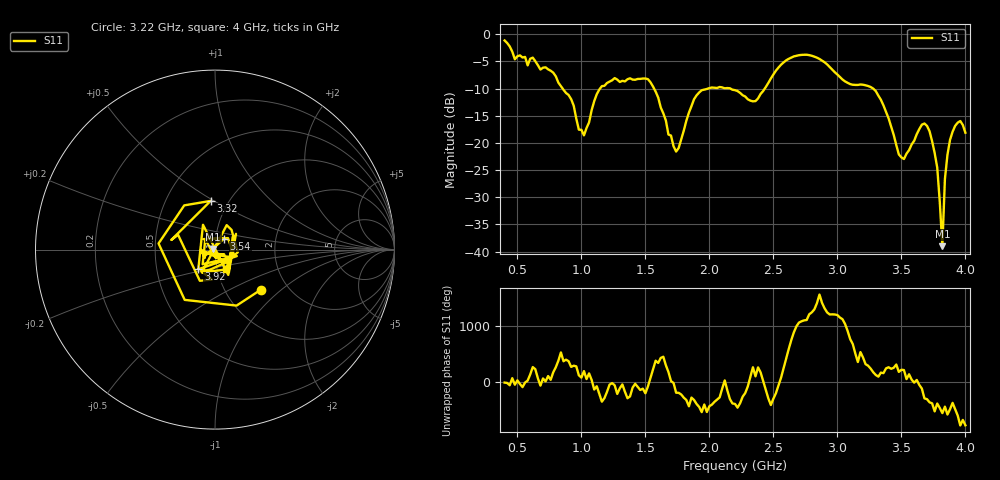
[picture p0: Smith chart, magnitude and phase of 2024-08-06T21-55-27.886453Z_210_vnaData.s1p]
!Created with skrf (http://scikit-rf.org).
# Hz S RI R 50.0
!freq ReS11 ImS11
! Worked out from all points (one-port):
!   181 points, 400 MHz to 4 GHz, reference 50 ohm
!   lowest |S11| = -39.0 dB at 3.82 GHz (marker M1), VSWR 1.02, Z = 49 + j0.386 ohm
!   |S11| at or under -10 dB: 853.5 MHz to 1.145 GHz (291.7 MHz wide, 29.2 % of centre); 1.568 GHz to 1.988 GHz (419.7 MHz wide, 23.6 % of centre); 3.28 GHz to end of sweep (the widest 3 of 4)
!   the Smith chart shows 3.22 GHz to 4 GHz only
!   S11 on the Smith chart (normalised r, x): 3.22 GHz: 1.47, -0.74; 3.32 GHz: 0.82, +0.48; 3.54 GHz: 1.10, +0.14; 3.92 GHz: 0.81, -0.18; 4 GHz: 1.11, -0.24
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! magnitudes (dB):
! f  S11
! 400 MHz  -1.1
! 480 MHz  -4.6
! 620 MHz  -4.3
! 860 MHz  -10.2
! 1.02 GHz  -18.6
! 1.14 GHz  -10.2
! 1.3 GHz  -8.8
! 1.52 GHz  -8.3
! 1.76 GHz  -20.9
! 1.92 GHz  -10.7
! 2.2 GHz  -10.3
! 2.36 GHz  -12.3
! 2.66 GHz  -4.1
! 2.84 GHz  -4.3
! 3.1 GHz  -9.2
! 3.22 GHz  -9.4
! 3.32 GHz  -11.3
! 3.48 GHz  -22.1
! 3.54 GHz  -22.0
! 3.56 GHz  -21.3
! 3.66 GHz  -16.6
! 3.72 GHz  -17.8
! 3.78 GHz  -24.5
! 3.82 GHz  -39.0
! 3.84 GHz  -26.6
! 3.86 GHz  -22.2
! 3.92 GHz  -16.8
! 4 GHz  -18.1
